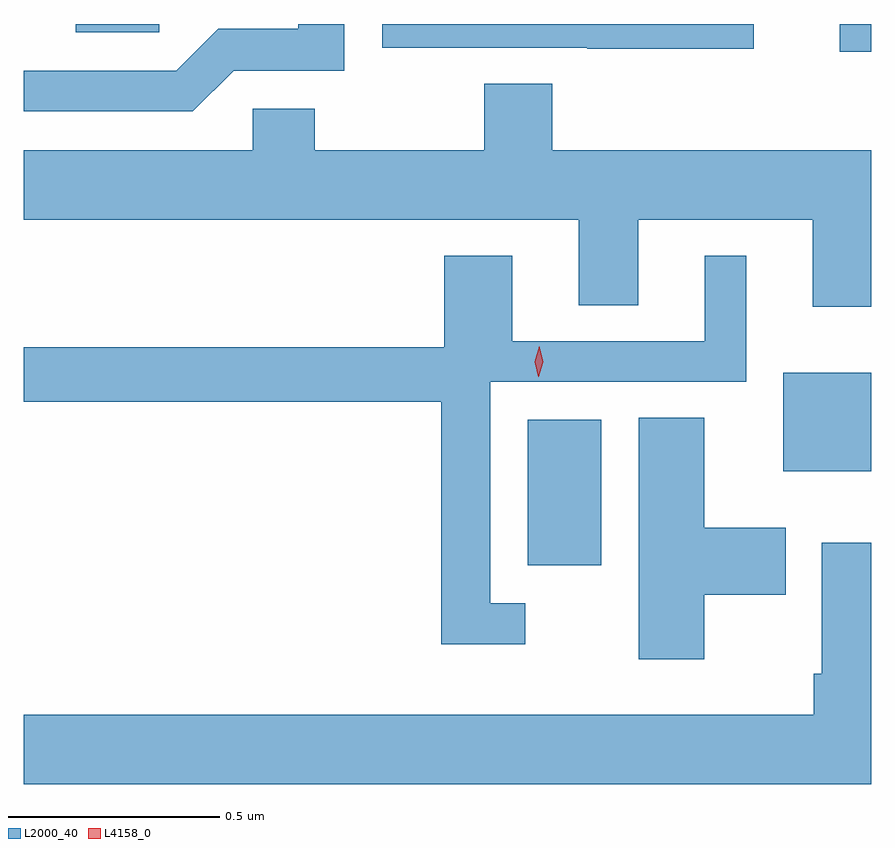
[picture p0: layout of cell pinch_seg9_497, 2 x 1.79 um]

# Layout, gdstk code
import gdstk
lib = gdstk.Library(unit=1e-6, precision=1e-09)
def R(c, l, rs):  # rectangles x0, y0, x1, y1
    for r in rs: c.add(gdstk.rectangle(r[:2], r[2:], *l))
def P(c, l, *ps):  # polygons
    for p in ps: c.add(gdstk.Polygon(p, *l))
L2000_40 = (2000, 40)
L4158_0 = (4158, 0)

pinch_seg9_497 = lib.new_cell('pinch_seg9_497')
R(pinch_seg9_497, L2000_40, [(337.373,1183.616,337.546,1183.96), (337.976,1183.838,338.183,1184.071), (338.109,1184.829,338.183,1184.894), (336.306,1184.874,336.503,1184.894)])
P(pinch_seg9_497, L2000_40, [(337.906,1184.894),(337.029,1184.894),(337.029,1184.838),(337.513,1184.838),(337.513,1184.836),(337.906,1184.836)],
  [(336.678,1184.784),(336.939,1184.784),(336.939,1184.894),(336.831,1184.894),(336.831,1184.883),(336.642,1184.883),(336.543,1184.784),(336.183,1184.784),(336.183,1184.688),(336.582,1184.688)],
  [(338.183,1184.596),(337.43,1184.596),(337.43,1184.753),(337.27,1184.753),(337.27,1184.596),(336.87,1184.596),(336.87,1184.694),(336.723,1184.694),(336.723,1184.596),(336.183,1184.596),(336.183,1184.432),(337.493,1184.432),(337.493,1184.23),(337.633,1184.23),(337.633,1184.432),(338.045,1184.432),(338.045,1184.226),(338.183,1184.226)],
  [(337.366,1183.527),(337.284,1183.527),(337.284,1184.049),(337.888,1184.049),(337.888,1184.347),(337.79,1184.347),(337.79,1184.145),(337.336,1184.145),(337.336,1184.347),(337.175,1184.347),(337.175,1184.131),(336.183,1184.131),(336.183,1184.002),(337.168,1184.002),(337.168,1183.43),(337.366,1183.43)],
  [(337.789,1183.547),(337.982,1183.547),(337.982,1183.705),(337.789,1183.705),(337.789,1183.964),(337.634,1183.964),(337.634,1183.395),(337.789,1183.395)],
  [(338.183,1183.669),(338.067,1183.669),(338.067,1183.36),(338.047,1183.36),(338.047,1183.264),(336.183,1183.264),(336.183,1183.1),(338.183,1183.1)])
P(pinch_seg9_497, L4158_0, [(337.397,1184.061),(337.397,1184.061),(337.389,1184.097),(337.4,1184.133),(337.4,1184.133),(337.4,1184.133),(337.409,1184.097),(337.398,1184.061)])

lib.write_gds('pinch_seg9_497.gds')
